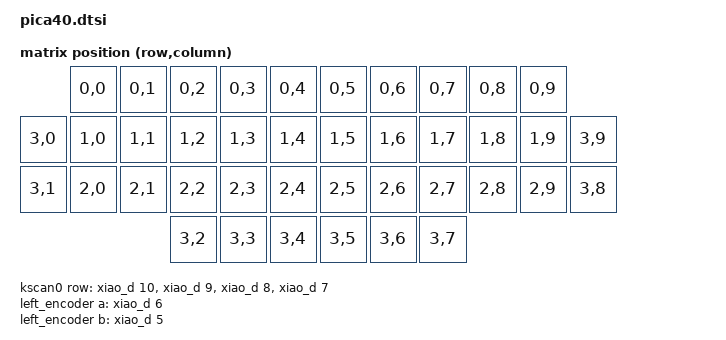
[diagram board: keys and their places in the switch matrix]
/*
 * Copyright (c) 2020 The ZMK Contributors
 *
 * SPDX-License-Identifier: MIT
 */

#include <dt-bindings/zmk/matrix_transform.h>

/ {
    chosen {
        zmk,kscan = &kscan0;
        zmk,matrix_transform = &default_transform;
        /* /delete-property/ zephyr,console; */
        /* /delete-property/ zephyr,shell-uart; */
    };

    default_transform: keymap_transform_0 {
        compatible = "zmk,matrix-transform";
        columns = <10>;
        rows = <4>;
        //       | SW1  | SW2  | SW3  | SW4  | SW5  |   | SW5  | SW4  | SW3  | SW2  | SW1  |
        //  SW16 | SW6  | SW7  | SW8  | SW9  | SW10 |   | SW10 | SW9  | SW8  | SW7  | SW6  | SW16
        //  SW17 | SW11 | SW12 | SW13 | SW14 | SW15 |   | SW15 | SW14 | SW13 | SW12 | SW11 | SW17
        //                     | SW18 | SW19 | SW20 |   | SW20 | SW19 | SW18 |
        map = <
                    RC(0,0) RC(0,1) RC(0,2) RC(0,3) RC(0,4)  RC(0,5) RC(0,6) RC(0,7) RC(0,8) RC(0,9)
            RC(3,0) RC(1,0) RC(1,1) RC(1,2) RC(1,3) RC(1,4)  RC(1,5) RC(1,6) RC(1,7) RC(1,8) RC(1,9) RC(3,9)
            RC(3,1) RC(2,0) RC(2,1) RC(2,2) RC(2,3) RC(2,4)  RC(2,5) RC(2,6) RC(2,7) RC(2,8) RC(2,9) RC(3,8)
                                    RC(3,2) RC(3,3) RC(3,4)  RC(3,5) RC(3,6) RC(3,7)
            >;
    };

    kscan0: kscan_0 {
        compatible = "zmk,kscan-gpio-matrix";
        label = "KSCAN";

        diode-direction = "col2row";
        row-gpios
            = <&xiao_d 10 (GPIO_ACTIVE_HIGH | GPIO_PULL_DOWN)>
            , <&xiao_d  9 (GPIO_ACTIVE_HIGH | GPIO_PULL_DOWN)>
            , <&xiao_d  8 (GPIO_ACTIVE_HIGH | GPIO_PULL_DOWN)>
            , <&xiao_d  7 (GPIO_ACTIVE_HIGH | GPIO_PULL_DOWN)>
            ;
    };

    left_encoder: encoder_left {
        compatible = "alps,ec11";
        label = "LEFT_ENCODER";
        a-gpios = <&xiao_d 6 (GPIO_ACTIVE_HIGH | GPIO_PULL_UP)>;
        b-gpios = <&xiao_d 5 (GPIO_ACTIVE_HIGH | GPIO_PULL_UP)>;
        resolution = <2>;
    };

    sensors {
		compatible = "zmk,keymap-sensors";
		sensors = <&left_encoder>;
	};
};

&xiao_spi { status = "disabled"; };
&xiao_i2c { status = "disabled"; };
&xiao_serial { status = "disabled"; };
